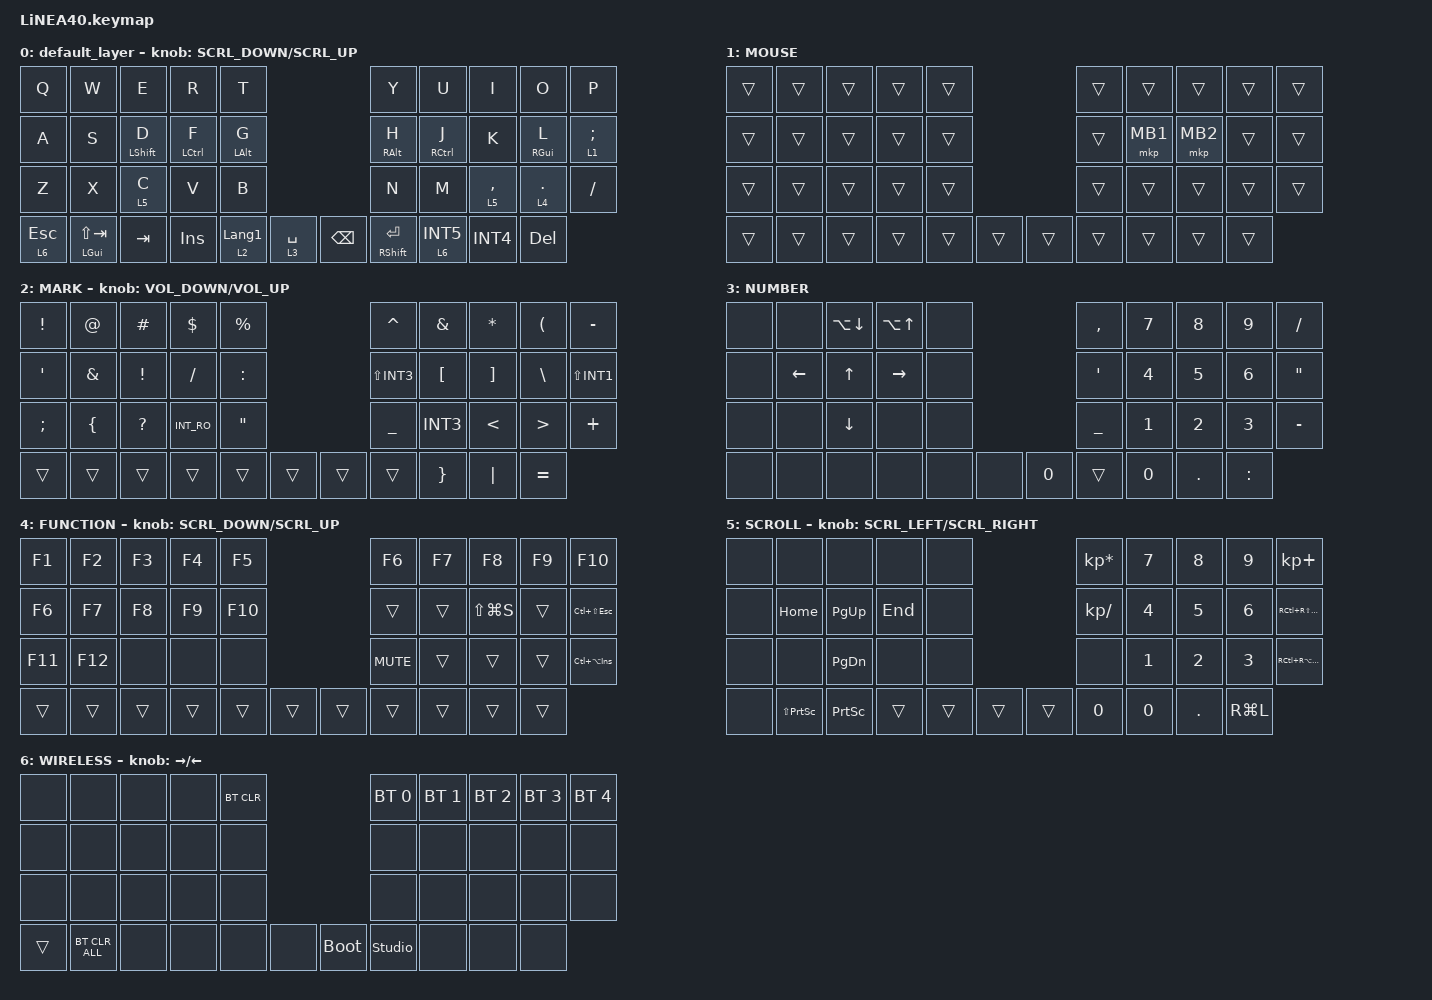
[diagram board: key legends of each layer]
#define ZMK_POINTING_DEFAULT_SCRL_VAL 150

#include <dt-bindings/zmk/input_transform.h>
#include <input/processors.dtsi>
#include <zephyr/dt-bindings/input/input-event-codes.h>
#include <behaviors.dtsi>
#include <dt-bindings/zmk/bt.h>
#include <dt-bindings/zmk/keys.h>
#include <dt-bindings/zmk/pointing.h>

#define MOUSE 1
#define MARK 2
#define NUMBER 3
#define FUNCTION 4
#define SCROLL 5
#define WIRELESS 6

// OS設定を日本語キーボードのまま使用するための変換定義（LisM風）
// ※ 実際にどの記号が出力されるかはOS側の入力ソース設定に依存するため、
//    既存のMARK層で使われている値と完全一致するもののみ置き換えています。
#define JP_DQUOTE       AT                // "
#define JP_AMPERSAND    CARET             // &
#define JP_QUOTE        AMPERSAND         // '
#define JP_EQUAL        UNDER             // =
#define JP_CARET        EQUAL             // ^
#define JP_YEN          INT3              // ¥ (International3)
#define JP_PLUS         COLON             // +
#define JP_TILDE        PLUS              // ~
#define JP_PIPE         LS(INT3)          // |
#define JP_AT           LEFT_BRACKET      // @
#define JP_COLON        SINGLE_QUOTE      // :
#define JP_ASTERISK     DOUBLE_QUOTES     // *
#define JP_BACKQUOTE    LEFT_BRACE        // `
#define JP_UNDERSCORE   LS(INT1)          // _ (Shift+International1)
#define JP_LBRACKET     RIGHT_BRACKET     // [
#define JP_RBRACKET     BACKSLASH         // ]
#define JP_LPAREN       ASTERISK          // (
#define JP_RPAREN       LEFT_PARENTHESIS  // )
#define JP_LBRACE       RIGHT_BRACE       // {
#define JP_RBRACE       PIPE              // }
#define JP_KANA         LANGUAGE_1        // かな
#define JP_EISU         LANGUAGE_2        // 英数
#define JP_HANZEN       GRAVE             // 半角/全角
#define JP_HENKAN       INT4              // 変換
#define JP_MUHEN        INT5              // 無変換

// ホールドタップのグローバルチューニング（LisM風）
&mt {
    tapping-term-ms = <200>;
    quick-tap-ms = <150>;
    flavor = "balanced";
};

&lt {
    quick-tap-ms = <150>;
};

//mouse cursol

&mmv {
    delay-ms = <20>;
    trigger-period-ms = <5>;
    time-to-max-speed-ms = <100>;
    acceleration-exponent = <2>;
};

//mouse scroll

&msc {
    delay-ms = <3>;
    trigger-period-ms = <3>;
    time-to-max-speed-ms = <100>;
    acceleration-exponent = <0>;
};

/ {
    input_processors {
        zip_wheel_scaler: zip_wheel_scaler {
            compatible = "zmk,input-processor-scaler";
            #input-processor-cells = <2>;
            type = <INPUT_EV_REL>;
            codes = <INPUT_REL_WHEEL>;
            track-remainders;
        };
    };
};

&msc_input_listener {
    speed_up {
        layers = <FUNCTION>;
        input-processors = <&zip_wheel_scaler 3 1>; //スクロールを3倍速にする
    };
};

&trackball_listener {
    scroller {
        layers = <SCROLL>;
        input-processors =
            <&zip_xy_transform INPUT_TRANSFORM_Y_INVERT>,
            //スクロール方向を逆転
            <&zip_xy_to_scroll_mapper>;
    };
    fast_cpi {
        layers = <NUMBER>;
        input-processors = <&zip_xy_scaler 3 2>;
    };
};

/ {
    combos {
        compatible = "zmk,combos";
        combo_JP_EISU {
            timeout-ms = <50>;
            key-positions = <12 13>;
            bindings = <&kp JP_EISU>;
        };

        combo_JP_HANZEN {
            timeout-ms = <50>;
            key-positions = <16 17>;
            bindings = <&kp JP_HANZEN>;
            layers = <0>;
        };

        combo_CenterClick {
            timeout-ms = <50>;
            key-positions = <17 16>;
            bindings = <&mkp MB3>;
            layers = <MOUSE>;
        };
    };

    behaviors {
        re_kp: sensor_rotate_kp {
            compatible = "zmk,behavior-sensor-rotate-var";
            #sensor-binding-cells = <2>;
            bindings = <&kp>, <&kp>;
        };

        mouse_scrl: mouse_wheel_scrl {
            compatible = "zmk,behavior-sensor-rotate-var";
            #sensor-binding-cells = <2>;
            bindings = <&msc>, <&msc>;

            tap-ms = <20>;
        };

        // ホームロー修飾（LisM風）
        // hold-trigger-key-positions は反対側の手のキー位置（サムクラスタ含む）
        hmrr: hmr_right {
            compatible = "zmk,behavior-hold-tap";
            #binding-cells = <2>;
            bindings = <&kp>, <&kp>;
            tapping-term-ms = <200>;
            flavor = "balanced";
            hold-trigger-key-positions = <0 1 2 3 4 10 11 12 13 14 20 21 22 23 24 30 31 32 33 34 35>;
            hold-trigger-on-release;
            require-prior-idle-ms = <150>;
        };

        hmrl: hmr_left {
            compatible = "zmk,behavior-hold-tap";
            #binding-cells = <2>;
            bindings = <&kp>, <&kp>;
            tapping-term-ms = <200>;
            flavor = "balanced";
            hold-trigger-key-positions = <5 6 7 8 9 15 16 17 18 19 25 26 27 28 29 36 37 38 39 40>;
            hold-trigger-on-release;
            require-prior-idle-ms = <150>;
        };
    };

    keymap {
        compatible = "zmk,keymap";

        default_layer {
            bindings = <
&kp Q      &kp W             &kp E           &kp R            &kp T                                          &kp Y             &kp U          &kp I           &kp O          &kp P
&kp A      &kp S             &hmrl LSHIFT D  &hmrl LCTRL F    &hmrl LALT G                                   &hmrr RALT H      &hmrr RCTRL J  &kp K           &hmrr RGUI L   &lt 1 SEMICOLON
&kp Z      &kp X             &lt 5 C         &kp V            &kp B                                          &kp N             &kp M          &lt 5 COMMA     &lt 4 DOT      &kp SLASH
&lt 6 ESC  &mt LGUI LS(TAB)  &kp TAB         &kp INS          &lt 2 JP_KANA  &lt 3 SPACE           &kp BSPC  &mt RSHIFT ENTER                 &lt 6 JP_MUHEN  &kp JP_HENKAN  &kp DEL
            >;

            sensor-bindings = <&mouse_scrl SCRL_DOWN SCRL_UP>;
        };

        //1

        MOUSE {
            bindings = <
&trans  &trans  &trans  &trans  &trans                    &trans  &trans    &trans    &trans  &trans
&trans  &trans  &trans  &trans  &trans                    &trans  &mkp MB1  &mkp MB2  &trans  &trans
&trans  &trans  &trans  &trans  &trans                    &trans  &trans    &trans    &trans  &trans
&trans  &trans  &trans  &trans  &trans  &trans    &trans  &trans            &trans     &trans  &trans
            >;
        };

        //2

        MARK {
            bindings = <
&kp EXCLAMATION  &kp JP_DQUOTE     &kp HASH         &kp DOLLAR  &kp PERCENT                              &kp JP_AMPERSAND  &kp JP_QUOTE  &kp JP_LPAREN    &kp JP_RPAREN     &kp MINUS
&kp JP_COLON     &kp JP_QUOTE      &kp EXCLAMATION  &kp SLASH   &kp JP_PLUS                              &kp JP_PIPE       &kp JP_AT     &kp JP_LBRACKET  &kp JP_RBRACKET   &kp JP_UNDERSCORE
&kp SEMICOLON    &kp JP_BACKQUOTE  &kp QUESTION     &kp INT_RO  &kp JP_ASTERISK                          &kp JP_EQUAL      &kp JP_YEN    &kp LESS_THAN    &kp GREATER_THAN  &kp JP_TILDE
&trans           &trans            &trans           &trans      &trans           &trans          &trans  &trans                          &kp JP_LBRACE    &kp JP_RBRACE     &kp JP_CARET
            >;

            sensor-bindings = <&re_kp C_VOLUME_DOWN C_VOLUME_UP>;
        };

        NUMBER {
            bindings = <
&none  &none     &kp LA(DOWN)  &kp LA(UP)  &none                       &kp COMMA     &kp N7  &kp N8  &kp N9   &kp SLASH
&none  &kp LEFT  &kp UP        &kp RIGHT   &none                       &kp JP_COLON  &kp N4  &kp N5  &kp N6   &kp JP_ASTERISK
&none  &none     &kp DOWN      &none       &none                       &kp JP_EQUAL  &kp N1  &kp N2  &kp N3   &kp MINUS
&none  &none     &none         &none       &none  &none        &kp N0  &trans                &kp N0  &kp DOT  &kp JP_PLUS
            >;
        };

        //4

        FUNCTION {
            bindings = <
&kp F1   &kp F2   &kp F3  &kp F4  &kp F5                        &kp F6      &kp F7  &kp F8         &kp F9  &kp F10
&kp F6   &kp F7   &kp F8  &kp F9  &kp F10                       &trans      &trans  &kp LS(LG(S))  &trans  &kp LC(LS(ESCAPE))
&kp F11  &kp F12  &none   &none   &none                         &kp C_MUTE  &trans  &trans         &trans  &kp LC(LA(INS))
&trans   &trans   &trans  &trans  &trans   &trans       &trans  &trans              &trans         &trans  &trans
            >;

            sensor-bindings = <&mouse_scrl SCRL_DOWN SCRL_UP>;
        };

        //5

        SCROLL {
            bindings = <
&none  &none          &none        &none    &none                          &kp KP_MULTIPLY  &kp NUMBER_7  &kp NUMBER_8  &kp NUMBER_9  &kp KP_PLUS
&none  &kp HOME       &kp PG_UP    &kp END  &none                          &kp KP_SLASH     &kp NUMBER_4  &kp NUMBER_5  &kp NUMBER_6  &kp RC(RS(ESC))
&none  &none          &kp PG_DN  &none    &none                          &none            &kp NUMBER_1  &kp NUMBER_2  &kp NUMBER_3  &kp RC(RA(DEL))
&none  &kp LS(PSCRN)  &kp PSCRN    &trans   &trans  &trans         &trans  &kp NUMBER_0                   &kp NUMBER_0  &kp DOT       &kp RG(L)
            >;

            sensor-bindings = <&mouse_scrl SCRL_LEFT SCRL_RIGHT>;
        };

        //6

        WIRELESS {
            bindings = <
&none   &none           &none  &none  &bt BT_CLR                                 &bt BT_SEL 0    &bt BT_SEL 1  &bt BT_SEL 2  &bt BT_SEL 3  &bt BT_SEL 4
&none   &none           &none  &none  &none                                      &none           &none         &none         &none         &none
&none   &none           &none  &none  &none                                      &none           &none         &none         &none         &none
&trans  &bt BT_CLR_ALL  &none  &none  &none       &none             &bootloader  &studio_unlock                &none         &none         &none
            >;

            sensor-bindings = <&inc_dec_kp RIGHT_ARROW LEFT_ARROW>;
        };
    };
};
